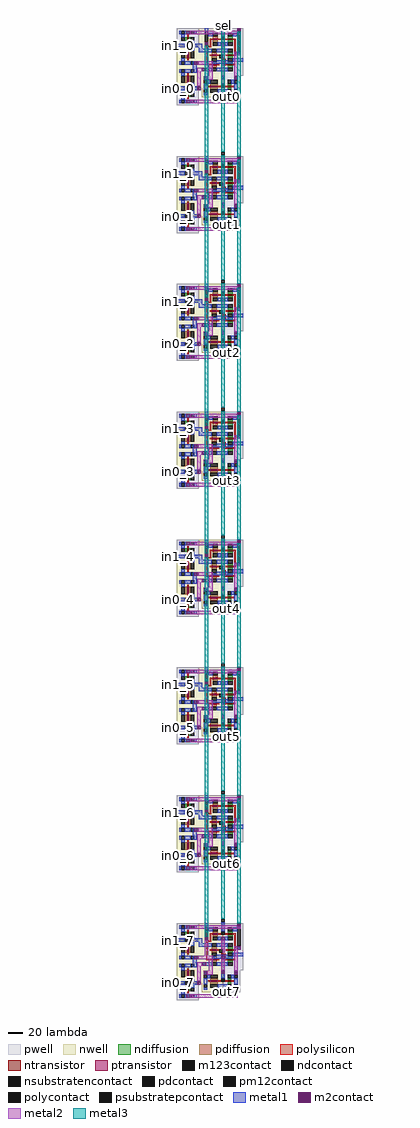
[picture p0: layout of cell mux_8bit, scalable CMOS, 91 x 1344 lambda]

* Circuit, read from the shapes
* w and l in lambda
.subckt mux_8bit GND! Vdd! in0_0 in0_1 in0_2 in0_3 in0_4 in0_5 in0_6 in0_7 in1_0 in1_1 in1_2 in1_3 in1_4 in1_5 in1_6 in1_7 out0 out1 out2 out3 out4 out5 out6 out7 sel
M1 mux_one_7/2mux_nr_0/in0 in0_7 GND! GND! nfet w=5 l=2
M2 mux_one_7/2mux_nr_0/in1 in1_7 GND! GND! nfet w=5 l=2
M3 mux_one_6/2mux_nr_0/in0 in0_6 GND! GND! nfet w=5 l=2
M4 mux_one_6/2mux_nr_0/in1 in1_6 GND! GND! nfet w=5 l=2
M5 mux_one_5/2mux_nr_0/in0 in0_5 GND! GND! nfet w=5 l=2
M6 mux_one_5/2mux_nr_0/in1 in1_5 GND! GND! nfet w=5 l=2
M7 mux_one_4/2mux_nr_0/in0 in0_4 GND! GND! nfet w=5 l=2
M8 mux_one_4/2mux_nr_0/in1 in1_4 GND! GND! nfet w=5 l=2
M9 mux_one_3/2mux_nr_0/in0 in0_3 GND! GND! nfet w=5 l=2
M10 mux_one_3/2mux_nr_0/in1 in1_3 GND! GND! nfet w=5 l=2
M11 mux_one_2/2mux_nr_0/in0 in0_2 GND! GND! nfet w=5 l=2
M12 mux_one_2/2mux_nr_0/in1 in1_2 GND! GND! nfet w=5 l=2
M13 mux_one_1/2mux_nr_0/in0 in0_1 GND! GND! nfet w=5 l=2
M14 mux_one_1/2mux_nr_0/in1 in1_1 GND! GND! nfet w=5 l=2
M15 mux_one_0/2mux_nr_0/in0 in0_0 GND! GND! nfet w=5 l=2
M16 mux_one_0/2mux_nr_0/in1 in1_0 GND! GND! nfet w=5 l=2
M17 GND! mux_one_7/2mux_nr_0/out out7 GND! nfet w=5 l=2
M18 mux_one_7/2mux_nr_0/out n1 mux_one_7/2mux_nr_0/in0 GND! nfet w=7 l=2
M19 mux_one_7/2mux_nr_0/in1 sel mux_one_7/2mux_nr_0/out GND! nfet w=7 l=2
M20 GND! sel n1 GND! nfet w=7 l=2
M21 GND! mux_one_6/2mux_nr_0/out out6 GND! nfet w=5 l=2
M22 mux_one_6/2mux_nr_0/out n2 mux_one_6/2mux_nr_0/in0 GND! nfet w=7 l=2
M23 mux_one_6/2mux_nr_0/in1 sel mux_one_6/2mux_nr_0/out GND! nfet w=7 l=2
M24 GND! sel n2 GND! nfet w=7 l=2
M25 GND! mux_one_5/2mux_nr_0/out out5 GND! nfet w=5 l=2
M26 mux_one_5/2mux_nr_0/out n3 mux_one_5/2mux_nr_0/in0 GND! nfet w=7 l=2
M27 mux_one_5/2mux_nr_0/in1 sel mux_one_5/2mux_nr_0/out GND! nfet w=7 l=2
M28 GND! sel n3 GND! nfet w=7 l=2
M29 GND! mux_one_4/2mux_nr_0/out out4 GND! nfet w=5 l=2
M30 mux_one_4/2mux_nr_0/out n4 mux_one_4/2mux_nr_0/in0 GND! nfet w=7 l=2
M31 mux_one_4/2mux_nr_0/in1 sel mux_one_4/2mux_nr_0/out GND! nfet w=7 l=2
M32 GND! sel n4 GND! nfet w=7 l=2
M33 GND! mux_one_3/2mux_nr_0/out out3 GND! nfet w=5 l=2
M34 mux_one_3/2mux_nr_0/out n5 mux_one_3/2mux_nr_0/in0 GND! nfet w=7 l=2
M35 mux_one_3/2mux_nr_0/in1 sel mux_one_3/2mux_nr_0/out GND! nfet w=7 l=2
M36 GND! sel n5 GND! nfet w=7 l=2
M37 GND! mux_one_2/2mux_nr_0/out out2 GND! nfet w=5 l=2
M38 mux_one_2/2mux_nr_0/out n6 mux_one_2/2mux_nr_0/in0 GND! nfet w=7 l=2
M39 mux_one_2/2mux_nr_0/in1 sel mux_one_2/2mux_nr_0/out GND! nfet w=7 l=2
M40 GND! sel n6 GND! nfet w=7 l=2
M41 GND! mux_one_1/2mux_nr_0/out out1 GND! nfet w=5 l=2
M42 mux_one_1/2mux_nr_0/out n7 mux_one_1/2mux_nr_0/in0 GND! nfet w=7 l=2
M43 mux_one_1/2mux_nr_0/in1 sel mux_one_1/2mux_nr_0/out GND! nfet w=7 l=2
M44 GND! sel n7 GND! nfet w=7 l=2
M45 GND! mux_one_0/2mux_nr_0/out out0 GND! nfet w=5 l=2
M46 mux_one_0/2mux_nr_0/out n8 mux_one_0/2mux_nr_0/in0 GND! nfet w=7 l=2
M47 mux_one_0/2mux_nr_0/in1 sel mux_one_0/2mux_nr_0/out GND! nfet w=7 l=2
M48 GND! sel n8 GND! nfet w=7 l=2
M49 mux_one_7/2mux_nr_0/in0 in0_7 Vdd! Vdd! pfet w=10 l=2
M50 mux_one_7/2mux_nr_0/in1 in1_7 Vdd! Vdd! pfet w=10 l=2
M51 mux_one_6/2mux_nr_0/in0 in0_6 Vdd! Vdd! pfet w=10 l=2
M52 mux_one_6/2mux_nr_0/in1 in1_6 Vdd! Vdd! pfet w=10 l=2
M53 mux_one_5/2mux_nr_0/in0 in0_5 Vdd! Vdd! pfet w=10 l=2
M54 mux_one_5/2mux_nr_0/in1 in1_5 Vdd! Vdd! pfet w=10 l=2
M55 mux_one_4/2mux_nr_0/in0 in0_4 Vdd! Vdd! pfet w=10 l=2
M56 mux_one_4/2mux_nr_0/in1 in1_4 Vdd! Vdd! pfet w=10 l=2
M57 mux_one_3/2mux_nr_0/in0 in0_3 Vdd! Vdd! pfet w=10 l=2
M58 mux_one_3/2mux_nr_0/in1 in1_3 Vdd! Vdd! pfet w=10 l=2
M59 mux_one_2/2mux_nr_0/in0 in0_2 Vdd! Vdd! pfet w=10 l=2
M60 mux_one_2/2mux_nr_0/in1 in1_2 Vdd! Vdd! pfet w=10 l=2
M61 mux_one_1/2mux_nr_0/in0 in0_1 Vdd! Vdd! pfet w=10 l=2
M62 mux_one_1/2mux_nr_0/in1 in1_1 Vdd! Vdd! pfet w=10 l=2
M63 mux_one_0/2mux_nr_0/in0 in0_0 Vdd! Vdd! pfet w=10 l=2
M64 mux_one_0/2mux_nr_0/in1 in1_0 Vdd! Vdd! pfet w=10 l=2
M65 Vdd! mux_one_7/2mux_nr_0/out out7 Vdd! pfet w=10 l=2
M66 Vdd! mux_one_6/2mux_nr_0/out out6 Vdd! pfet w=10 l=2
M67 Vdd! mux_one_5/2mux_nr_0/out out5 Vdd! pfet w=10 l=2
M68 Vdd! mux_one_4/2mux_nr_0/out out4 Vdd! pfet w=10 l=2
M69 Vdd! mux_one_3/2mux_nr_0/out out3 Vdd! pfet w=10 l=2
M70 Vdd! mux_one_2/2mux_nr_0/out out2 Vdd! pfet w=10 l=2
M71 Vdd! mux_one_1/2mux_nr_0/out out1 Vdd! pfet w=10 l=2
M72 Vdd! mux_one_0/2mux_nr_0/out out0 Vdd! pfet w=10 l=2
M73 mux_one_7/2mux_nr_0/out sel mux_one_7/2mux_nr_0/in0 Vdd! pfet w=7 l=2
M74 mux_one_7/2mux_nr_0/in1 n1 mux_one_7/2mux_nr_0/out Vdd! pfet w=7 l=2
M75 mux_one_6/2mux_nr_0/out sel mux_one_6/2mux_nr_0/in0 Vdd! pfet w=7 l=2
M76 mux_one_6/2mux_nr_0/in1 n2 mux_one_6/2mux_nr_0/out Vdd! pfet w=7 l=2
M77 mux_one_5/2mux_nr_0/out sel mux_one_5/2mux_nr_0/in0 Vdd! pfet w=7 l=2
M78 mux_one_5/2mux_nr_0/in1 n3 mux_one_5/2mux_nr_0/out Vdd! pfet w=7 l=2
M79 mux_one_4/2mux_nr_0/out sel mux_one_4/2mux_nr_0/in0 Vdd! pfet w=7 l=2
M80 mux_one_4/2mux_nr_0/in1 n4 mux_one_4/2mux_nr_0/out Vdd! pfet w=7 l=2
M81 mux_one_3/2mux_nr_0/out sel mux_one_3/2mux_nr_0/in0 Vdd! pfet w=7 l=2
M82 mux_one_3/2mux_nr_0/in1 n5 mux_one_3/2mux_nr_0/out Vdd! pfet w=7 l=2
M83 mux_one_2/2mux_nr_0/out sel mux_one_2/2mux_nr_0/in0 Vdd! pfet w=7 l=2
M84 mux_one_2/2mux_nr_0/in1 n6 mux_one_2/2mux_nr_0/out Vdd! pfet w=7 l=2
M85 mux_one_1/2mux_nr_0/out sel mux_one_1/2mux_nr_0/in0 Vdd! pfet w=7 l=2
M86 mux_one_1/2mux_nr_0/in1 n7 mux_one_1/2mux_nr_0/out Vdd! pfet w=7 l=2
M87 mux_one_0/2mux_nr_0/out sel mux_one_0/2mux_nr_0/in0 Vdd! pfet w=7 l=2
M88 mux_one_0/2mux_nr_0/in1 n8 mux_one_0/2mux_nr_0/out Vdd! pfet w=7 l=2
M89 Vdd! sel n1 Vdd! pfet w=7 l=2
M90 Vdd! sel n2 Vdd! pfet w=7 l=2
M91 Vdd! sel n3 Vdd! pfet w=7 l=2
M92 Vdd! sel n4 Vdd! pfet w=7 l=2
M93 Vdd! sel n5 Vdd! pfet w=7 l=2
M94 Vdd! sel n6 Vdd! pfet w=7 l=2
M95 Vdd! sel n7 Vdd! pfet w=7 l=2
M96 Vdd! sel n8 Vdd! pfet w=7 l=2
.ends

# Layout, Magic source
magic
tech scmos
<< metal1 >>
rect 62 109 67 111
rect 1 84 6 89
rect 1 25 6 30
rect 67 13 72 18
rect 62 -67 67 -65
rect 1 -92 6 -87
rect 1 -151 6 -146
rect 67 -163 72 -158
rect 62 -243 67 -241
rect 1 -268 6 -263
rect 1 -327 6 -322
rect 67 -339 72 -334
rect 62 -419 67 -417
rect 1 -444 6 -439
rect 1 -503 6 -498
rect 67 -515 72 -510
rect 62 -595 67 -593
rect 1 -620 6 -615
rect 1 -679 6 -674
rect 67 -691 72 -686
rect 62 -771 67 -769
rect 1 -796 6 -791
rect 1 -855 6 -850
rect 67 -867 72 -862
rect 62 -947 67 -945
rect 1 -972 6 -967
rect 1 -1031 6 -1026
rect 67 -1043 72 -1038
rect 62 -1123 67 -1121
rect 1 -1148 6 -1143
rect 1 -1207 6 -1202
rect 67 -1219 72 -1214
<< m123contact >>
rect 62 111 67 116
rect 84 105 89 110
rect 39 86 44 91
rect 62 -65 67 -60
rect 84 -71 89 -66
rect 39 -90 44 -85
rect 62 -241 67 -236
rect 84 -247 89 -242
rect 39 -266 44 -261
rect 62 -417 67 -412
rect 84 -423 89 -418
rect 39 -442 44 -437
rect 62 -593 67 -588
rect 84 -599 89 -594
rect 39 -618 44 -613
rect 62 -769 67 -764
rect 84 -775 89 -770
rect 39 -794 44 -789
rect 62 -945 67 -940
rect 84 -951 89 -946
rect 39 -970 44 -965
rect 62 -1121 67 -1116
rect 84 -1127 89 -1122
rect 39 -1146 44 -1141
<< metal3 >>
rect 39 -85 44 86
rect 39 -261 44 -90
rect 39 -437 44 -266
rect 39 -613 44 -442
rect 39 -789 44 -618
rect 39 -965 44 -794
rect 39 -1141 44 -970
rect 62 -60 67 111
rect 62 -236 67 -65
rect 62 -412 67 -241
rect 62 -588 67 -417
rect 62 -764 67 -593
rect 62 -940 67 -769
rect 62 -1116 67 -945
rect 84 -66 89 105
rect 84 -242 89 -71
rect 84 -418 89 -247
rect 84 -594 89 -423
rect 84 -770 89 -599
rect 84 -946 89 -775
rect 84 -1122 89 -951
use mux_one  mux_one_7
transform 1 0 55 0 1 -1194
box -54 -34 37 72
use mux_one  mux_one_6
transform 1 0 55 0 1 -1018
box -54 -34 37 72
use mux_one  mux_one_5
transform 1 0 55 0 1 -842
box -54 -34 37 72
use mux_one  mux_one_4
transform 1 0 55 0 1 -666
box -54 -34 37 72
use mux_one  mux_one_3
transform 1 0 55 0 1 -490
box -54 -34 37 72
use mux_one  mux_one_2
transform 1 0 55 0 1 -314
box -54 -34 37 72
use mux_one  mux_one_1
transform 1 0 55 0 1 -138
box -54 -34 37 72
use mux_one  mux_one_0
transform 1 0 55 0 1 38
box -54 -34 37 72
<< labels >>
rlabel metal1 67 13 72 18 1 out0
rlabel metal1 67 -163 72 -158 1 out1
rlabel metal1 67 -339 72 -334 1 out2
rlabel metal1 67 -515 72 -510 1 out3
rlabel metal1 67 -691 72 -686 1 out4
rlabel metal1 67 -867 72 -862 1 out5
rlabel metal1 67 -1043 72 -1038 1 out6
rlabel metal1 67 -1219 72 -1214 1 out7
rlabel metal1 1 -1207 6 -1202 3 in0_7
rlabel metal1 1 -1031 6 -1026 3 in0_6
rlabel metal1 1 -855 6 -850 3 in0_5
rlabel metal1 1 -679 6 -674 3 in0_4
rlabel metal1 1 -503 6 -498 3 in0_3
rlabel metal1 1 -327 6 -322 3 in0_2
rlabel metal1 1 -151 6 -146 3 in0_1
rlabel metal1 1 25 6 30 3 in0_0
rlabel metal1 1 84 6 89 3 in1_0
rlabel metal1 1 -92 6 -87 3 in1_1
rlabel metal1 1 -268 6 -263 3 in1_2
rlabel metal1 1 -444 6 -439 3 in1_3
rlabel metal1 1 -620 6 -615 3 in1_4
rlabel metal1 1 -796 6 -791 3 in1_5
rlabel metal1 1 -972 6 -967 3 in1_6
rlabel metal1 1 -1148 6 -1143 3 in1_7
rlabel m123contact 62 111 67 116 5 sel
rlabel m123contact 39 86 44 91 1 Vdd!
rlabel m123contact 84 105 89 110 1 GND!
<< end >>

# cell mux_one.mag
magic
tech scmos
<< nwell >>
rect -22 13 -16 18
rect -25 -9 -18 7
rect -25 -10 -20 -9
<< metal1 >>
rect 7 69 12 72
rect -54 46 -49 51
rect -24 39 -19 51
rect -32 22 -30 27
rect -32 11 -27 22
rect -54 -13 -49 -8
rect 7 -25 12 -21
<< m2contact >>
rect -41 64 -36 69
rect 29 67 34 72
rect -16 48 -11 53
rect 29 35 34 40
rect -30 22 -25 27
rect 7 22 12 27
rect -19 13 -14 18
rect -17 1 -12 6
rect 7 2 12 7
rect 25 1 30 6
rect -26 -13 -21 -8
rect 25 -22 30 -17
rect -41 -31 -36 -26
<< metal2 >>
rect -36 67 29 69
rect -36 64 34 67
rect -16 27 -11 48
rect 25 35 29 40
rect -25 22 -5 27
rect -26 13 -19 18
rect -26 -8 -21 13
rect -10 6 -5 22
rect -12 1 -5 6
rect 7 7 12 22
rect 25 6 30 35
rect 25 -26 30 -22
rect -36 -31 30 -26
use inv2  inv2_0
transform 1 0 -44 0 -1 59
box -10 -13 20 40
use inv2  inv2_1
transform 0 -1 20 -1 0 -3
box -10 -13 20 40
use inv2  inv2_2
transform 1 0 -44 0 1 -21
box -10 -13 20 40
use 2mux_nr  2mux_nr_0
transform 1 0 8 0 1 45
box -32 -38 29 27
<< labels >>
rlabel metal1 7 -25 12 -21 1 out
rlabel metal1 -54 46 -49 51 3 in1
rlabel metal1 -54 -13 -49 -8 3 in0
rlabel m2contact -16 48 -11 53 1 Vdd!
rlabel m2contact 29 67 34 72 5 GND!
rlabel metal1 7 69 12 72 5 sel
<< end >>

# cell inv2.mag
magic
tech scmos
<< nwell >>
rect -10 11 20 40
<< pwell >>
rect -10 -13 20 10
<< ntransistor >>
rect 4 -1 6 4
<< ptransistor >>
rect 4 18 6 28
<< ndiffusion >>
rect 1 -1 4 4
rect 6 -1 9 4
<< pdiffusion >>
rect 1 18 4 28
rect 6 18 9 28
<< ndcontact >>
rect -4 -1 1 4
rect 9 -1 14 4
<< pdcontact >>
rect -4 18 1 28
rect 9 18 14 28
<< psubstratepcontact >>
rect -4 -10 1 -5
rect 9 -10 14 -5
<< nsubstratencontact >>
rect -4 32 1 37
rect 9 32 14 37
<< polysilicon >>
rect 4 28 6 31
rect 4 13 6 18
rect 4 4 6 8
rect 4 -4 6 -1
<< polycontact >>
rect 1 8 6 13
<< metal1 >>
rect -7 32 -4 37
rect 1 32 9 37
rect 14 32 17 37
rect -4 28 1 32
rect 9 13 14 18
rect -10 8 1 13
rect 9 8 20 13
rect 9 4 14 8
rect -4 -5 1 -1
rect -7 -10 -4 -5
rect 1 -10 9 -5
rect 14 -10 17 -5
<< labels >>
rlabel metal1 -5 -7 -5 -7 3 GND!
rlabel metal1 -5 34 -5 34 3 Vdd!
<< end >>

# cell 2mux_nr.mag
magic
tech scmos
<< nwell >>
rect -32 -38 1 27
<< pwell >>
rect 1 -38 29 27
<< ntransistor >>
rect 8 11 15 13
rect 8 -11 15 -9
rect 8 -24 15 -22
<< ptransistor >>
rect -13 11 -6 13
rect -14 -11 -7 -9
rect -14 -24 -7 -22
<< ndiffusion >>
rect 8 13 15 16
rect 8 8 15 11
rect 8 -9 15 -6
rect 8 -14 15 -11
rect 8 -22 15 -19
rect 8 -27 15 -24
<< pdiffusion >>
rect -13 13 -6 16
rect -13 8 -6 11
rect -14 -9 -7 -6
rect -14 -14 -7 -11
rect -14 -22 -7 -19
rect -14 -27 -7 -24
<< ndcontact >>
rect 8 16 15 21
rect 8 3 15 8
rect 8 -6 15 -1
rect 8 -19 15 -14
rect 8 -32 15 -27
<< pdcontact >>
rect -13 16 -6 21
rect -13 3 -6 8
rect -14 -6 -7 -1
rect -14 -19 -7 -14
rect -14 -32 -7 -27
<< psubstratepcontact >>
rect 21 -5 26 22
<< nsubstratencontact >>
rect -24 8 -19 22
<< polysilicon >>
rect -17 11 -13 13
rect -6 11 -1 13
rect 4 11 8 13
rect 15 11 19 13
rect -17 3 -15 11
rect -22 1 -15 3
rect -22 -22 -20 1
rect 17 -9 19 11
rect -17 -11 -14 -9
rect -7 -11 -4 -9
rect 5 -11 8 -9
rect 15 -11 19 -9
rect -1 -15 1 -14
rect -1 -17 5 -15
rect 3 -22 5 -17
rect -22 -24 -14 -22
rect -7 -24 -4 -22
rect 3 -24 8 -22
rect 15 -24 18 -22
<< polycontact >>
rect -1 11 4 16
<< metal1 >>
rect -24 22 -19 27
rect -19 16 -13 21
rect -1 16 4 27
rect 21 22 26 27
rect 15 16 21 21
rect -24 3 -19 8
rect -6 3 -1 8
rect 4 3 8 8
rect -27 -6 -14 -1
rect -7 -6 8 -1
rect 21 -10 26 -5
rect -7 -19 8 -17
rect 15 -19 29 -14
rect -14 -22 15 -19
rect -27 -32 -14 -27
rect -7 -32 8 -27
<< m2contact >>
rect -1 3 4 8
<< pm12contact >>
rect -4 -14 1 -9
<< metal2 >>
rect -1 -9 4 3
rect 1 -14 4 -9
<< labels >>
rlabel metal1 -1 27 4 27 5 s
rlabel metal1 21 27 26 27 5 GND!
rlabel metal1 29 -19 29 -14 7 out
rlabel metal1 -24 27 -19 27 5 Vdd!
rlabel metal1 -27 -6 -27 -1 3 in1
rlabel metal1 -27 -32 -27 -27 3 in0
<< end >>
